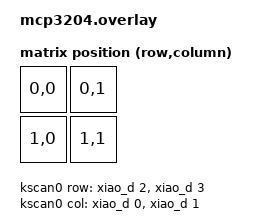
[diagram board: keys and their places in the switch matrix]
#include <dt-bindings/zmk/matrix_transform.h>
#include <zephyr/dt-bindings/input/input-event-codes.h>
// #include <input/processors.dtsi>

// #include <dt-bindings/zmk/input_transform.h>

/ {
    kscan0: kscan0 {
        compatible = "zmk,kscan-gpio-matrix";
        diode-direction = "col2row";
        wakeup-source;

        col-gpios
            = <&xiao_d 0 GPIO_ACTIVE_HIGH>
            , <&xiao_d 1 GPIO_ACTIVE_HIGH>
            ;

        row-gpios
            = <&xiao_d 2 (GPIO_ACTIVE_HIGH | GPIO_PULL_DOWN)>
            , <&xiao_d 3 (GPIO_ACTIVE_HIGH | GPIO_PULL_DOWN)>
            ;
    };

    default_transform: keymap_transform0 {
        compatible = "zmk,matrix-transform";
        columns = <2>;
        rows = <2>;
        map = <
            RC(0,0) RC(0,1)
            RC(1,0) RC(1,1)
        >;
    };

    chosen {
        zmk,kscan = &kscan0;
        zmk,matrix_transform = &default_transform;
    };
};

//-------------------------------
// mcp3204
//-------------------------------
&pinctrl {
    spi2_default: spi2_default {
        group1 {
            psels = <NRF_PSEL(SPIM_SCK,  0,  5)>,       // SCK:  P0.05
                    <NRF_PSEL(SPIM_MOSI, 0,  4)>,       // MOSI: P0.04
                    <NRF_PSEL(SPIM_MISO, 0, 29)>;       // MISO: P0.29
        };
    };

    spi2_sleep: spi2_sleep {
        group1 {
            psels = <NRF_PSEL(SPIM_SCK,  0,  5)>,       // SCK:  P0.05
                    <NRF_PSEL(SPIM_MOSI, 0,  4)>,       // MOSI: P0.04
                    <NRF_PSEL(SPIM_MISO, 0, 29)>;       // MISO: P0.29
            low-power-enable;
        };
    };
};

&xiao_spi {
    compatible = "nordic,nrf-spim";
    status = "okay";
    pinctrl-0 = <&spi2_default>;
    pinctrl-1 = <&spi2_sleep>;
    pinctrl-names = "default", "sleep";
    cs-gpios = <&xiao_d 10 GPIO_ACTIVE_LOW>;         // /CS: P1.15

    mcp_adc: mcp3204@0 {
        compatible = "microchip,mcp3204";
        status = "okay";
        reg = <0>;
        spi-max-frequency = <400000>;  // ok
    // spi-max-frequency = <100000>;  // NG
        #io-channel-cells = <1>;
    //  duplex = <0>;           // 0: full duplex, 2048: half duplex
    };

};

//-------------------------------
// mcp3204-pointing
//-------------------------------
/{
	ain0: mcp3204-pointing {
		compatible = "zmk,mcp3204-pointing";
		sampling-hz = <100>;
        /*
		x-ch {
        }
		y-ch {
        }
        */
    };

    /*
    analog_input_listener {
        status = "okay";
        compatible = "zmk,input-listener";
        device = <&ain0>;
        // input-processors = <&zip_xy_to_scroll_mapper>;                    // acts as a scroll wheel
        input-processors = <&zip_xy_transform INPUT_TRANSFORM_Y_INVERT>;  // acts as mouse
    };
    */

};


//-------------------------------
// analog-input
//-------------------------------
// #include <zephyr/dt-bindings/input/input-event-codes.h>
/* Reference: https://docs.zephyrproject.org/apidoc/latest/group__input__events.html */

/*
&adc {
	status = "okay";
};

/ {
	ain0: analog_input_0 {
		compatible = "zmk,analog-input";
		sampling-hz = <100>;
		y-ch {
			io-channels = <&mcp_adc 0>;     // 0: mcp3204 ch0
			mv-mid = <1950>;
			mv-min-max = <1600>;
			mv-deadzone = <200>;
			scale-multiplier = <1>;
			scale-divisor = <200>;
			invert;
			evt-type = <INPUT_EV_REL>;
			input-code = <INPUT_REL_Y>;
		};
		x-ch {
			io-channels = <&mcp_adc 1>;     // 1: mcp3204 ch1
			mv-mid = <1950>;
			mv-min-max = <1600>;
			mv-deadzone = <200>;
			scale-multiplier = <1>;
			scale-divisor = <200>;
			invert;
			evt-type = <INPUT_EV_REL>;
			input-code = <INPUT_REL_X>;

			// enable report mdoe for gamepad axix or knob
			// to only call input_report on quantquantized value is updated
			// NOTE: mouse input does NOT need this
			// report-on-change-only;

		};
	};

    analog_input_listener {
        status = "okay";
        compatible = "zmk,input-listener";
        device = <&ain0>;
        // input-processors = <&zip_xy_to_scroll_mapper>;                    // acts as a scroll wheel
        input-processors = <&zip_xy_transform INPUT_TRANSFORM_Y_INVERT>;  // acts as mouse
    };
};
*/
